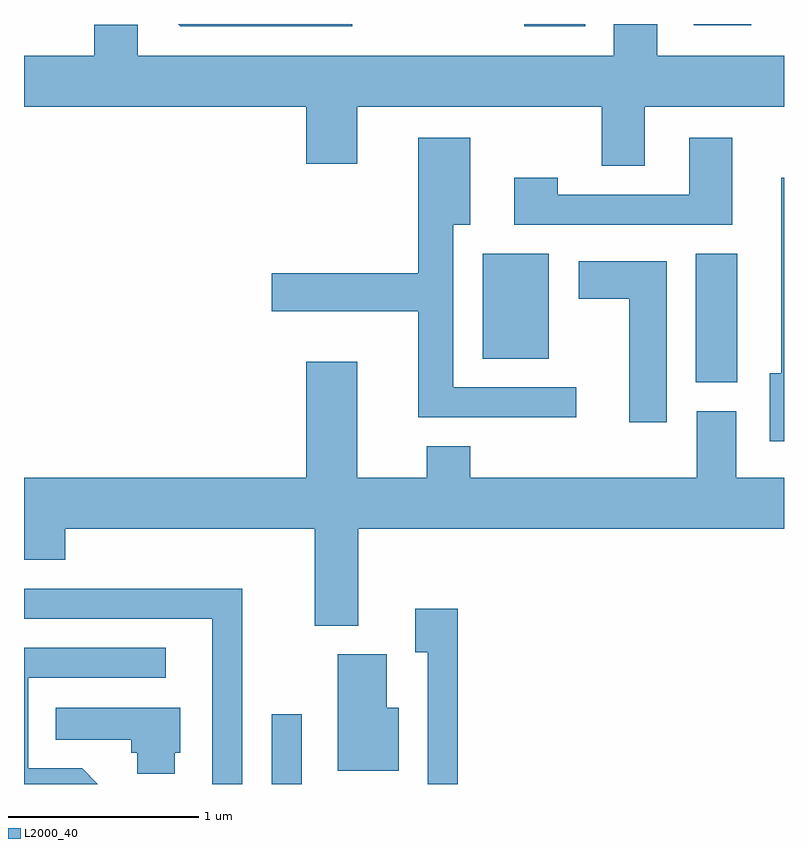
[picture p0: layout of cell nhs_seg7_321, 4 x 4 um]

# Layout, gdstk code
import gdstk
lib = gdstk.Library(unit=1e-6, precision=1e-09)
def R(c, l, rs):  # rectangles x0, y0, x1, y1
    for r in rs: c.add(gdstk.rectangle(r[:2], r[2:], *l))
def P(c, l, *ps):  # polygons
    for p in ps: c.add(gdstk.Polygon(p, *l))
L2000_40 = (2000, 40)

nhs_seg7_321 = lib.new_cell('nhs_seg7_321')
R(nhs_seg7_321, L2000_40, [(194.916,1766.252,195.074,1766.618), (197.146,1768.366,197.364,1769.044), (196.026,1768.491,196.374,1769.044), (196.243,1770.241,196.564,1770.252), (197.136,1770.246,197.439,1770.252)])
P(nhs_seg7_321, L2000_40, [(196.879,1769.816),(197.611,1769.816),(197.611,1770.084),(196.944,1770.084),(196.944,1770.252),(196.716,1770.252),(196.716,1770.084),(194.209,1770.084),(194.209,1770.249),(193.981,1770.249),(193.981,1770.084),(193.611,1770.084),(193.611,1769.816),(195.096,1769.816),(195.096,1769.516),(195.364,1769.516),(195.364,1769.816),(196.651,1769.816),(196.651,1769.506),(196.879,1769.506)],
  [(195.339,1770.252),(194.423,1770.252),(194.434,1770.241),(195.339,1770.241)],
  [(197.339,1769.654),(197.111,1769.654),(197.111,1769.354),(196.419,1769.354),(196.419,1769.444),(196.191,1769.444),(196.191,1769.196),(197.339,1769.196)],
  [(196.518,1768.339),(195.869,1768.339),(195.869,1769.196),(195.959,1769.196),(195.959,1769.654),(195.686,1769.654),(195.686,1768.939),(194.916,1768.939),(194.916,1768.741),(195.686,1768.741),(195.686,1768.181),(196.518,1768.181)],
  [(197.611,1769.444),(197.596,1769.444),(197.596,1768.414),(197.536,1768.414),(197.536,1768.056),(197.611,1768.056)],
  [(196.994,1769.004),(196.531,1769.004),(196.531,1768.806),(196.796,1768.806),(196.796,1768.156),(196.994,1768.156)],
  [(195.369,1767.596),(197.611,1767.596),(197.611,1767.864),(197.359,1767.864),(197.359,1768.214),(197.151,1768.214),(197.151,1767.864),(195.959,1767.864),(195.959,1768.029),(195.731,1768.029),(195.731,1767.864),(195.364,1767.864),(195.364,1768.474),(195.096,1768.474),(195.096,1767.864),(193.611,1767.864),(193.611,1767.431),(193.829,1767.431),(193.829,1767.596),(195.141,1767.596),(195.141,1767.086),(195.369,1767.086)],
  [(194.759,1767.279),(193.611,1767.279),(193.611,1767.121),(194.601,1767.121),(194.601,1766.252),(194.759,1766.252)],
  [(195.894,1767.174),(195.671,1767.174),(195.671,1766.946),(195.736,1766.946),(195.736,1766.252),(195.894,1766.252)],
  [(193.917,1766.334),(193.634,1766.334),(193.634,1766.811),(194.358,1766.811),(194.358,1766.969),(193.611,1766.969),(193.611,1766.252),(193.999,1766.252)],
  [(195.584,1766.654),(195.519,1766.654),(195.519,1766.934),(195.261,1766.934),(195.261,1766.321),(195.584,1766.321)],
  [(194.404,1766.416),(194.434,1766.416),(194.434,1766.654),(193.778,1766.654),(193.778,1766.486),(194.176,1766.486),(194.176,1766.416),(194.206,1766.416),(194.206,1766.306),(194.404,1766.306)])

lib.write_gds('nhs_seg7_321.gds')
